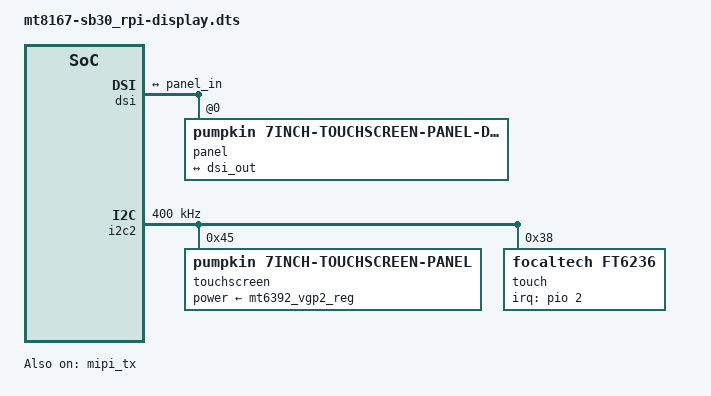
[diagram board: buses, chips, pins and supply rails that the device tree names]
#include "mt8167-pinfunc.h"
#include "dt-bindings/interrupt-controller/irq.h"

/dts-v1/;
/plugin/;

/ {
	fragment@0 {
		target = <&dsi>;
		__overlay__ {
			status = "okay";
			#address-cells = <1>;
			#size-cells = <0>;

			ports {
				port@0 {
					reg = <0>;

					dsi_out: endpoint {
						remote-endpoint = <&panel_in>;
					};
				};
			};

			panel@0 {
				compatible = "pumpkin,7inch-touchscreen-panel-dsi";
				reg = <0>;
				pumpkin,touchscreen = <&touchscreen>;

				port {
					panel_in: endpoint {
						remote-endpoint = <&dsi_out>;
					};
				};
			};
		};
	};

	fragment@1 {
		target = <&i2c2>;
		__overlay__ {
			clock-div = <2>;
			clock-frequency = <400000>;
			pinctrl-names = "default";
			pinctrl-0 = <&i2c2_pins_a>;
			status = "okay";

			touchscreen: touchscreen@0 {
				compatible = "pumpkin,7inch-touchscreen-panel";
				reg = <0x45>;
				status = "okay";
				pinctrl-0 = <&panel_pins>;
				pinctrl-names = "default";
				power-supply = <&mt6392_vgp2_reg>;
			};

			touch: ft5x06@38 {
				compatible = "focaltech,ft6236";
				reg = <0x38>;
				status = "okay";
				pinctrl-0 = <&ts_pins>;
				pinctrl-names = "default";
				interrupt-parent = <&pio>;
				interrupts = <2 IRQ_TYPE_EDGE_FALLING>;
				touchscreen-size-y = <480>;
				touchscreen-size-x = <800>;
				touchscreen-inverted-y = <1>;
				touchscreen-inverted-x = <1>;
			};
		};
	};

	fragment@2 {
		target = <&mipi_tx>;
		__overlay__ {
			status = "okay";
		};
	};

	fragment@3 {
		target = <&pio>;
		__overlay__ {
			i2c2_pins_a: i2c2@0 {
				pins1 {
					pinmux = <MT8167_PIN_60_SDA2__FUNC_SDA2_0>,
						 <MT8167_PIN_61_SCL2__FUNC_SCL2_0>;
					bias-disable;
				};
			};

			panel_pins: panel_pins {
				pins {
					pinmux = <MT8167_PIN_66_LCM_RST__FUNC_GPIO66>,
						 <MT8167_PIN_67_DSI_TE__FUNC_GPIO67>;
					output-high;
				};
			};
			ts_pins: ts_pins {
				pins {
					pinmux = <MT8167_PIN_2_EINT2__FUNC_GPIO2>;
					input-enable;
					bias-pull-up;
				};
			};
		};
	};
};
